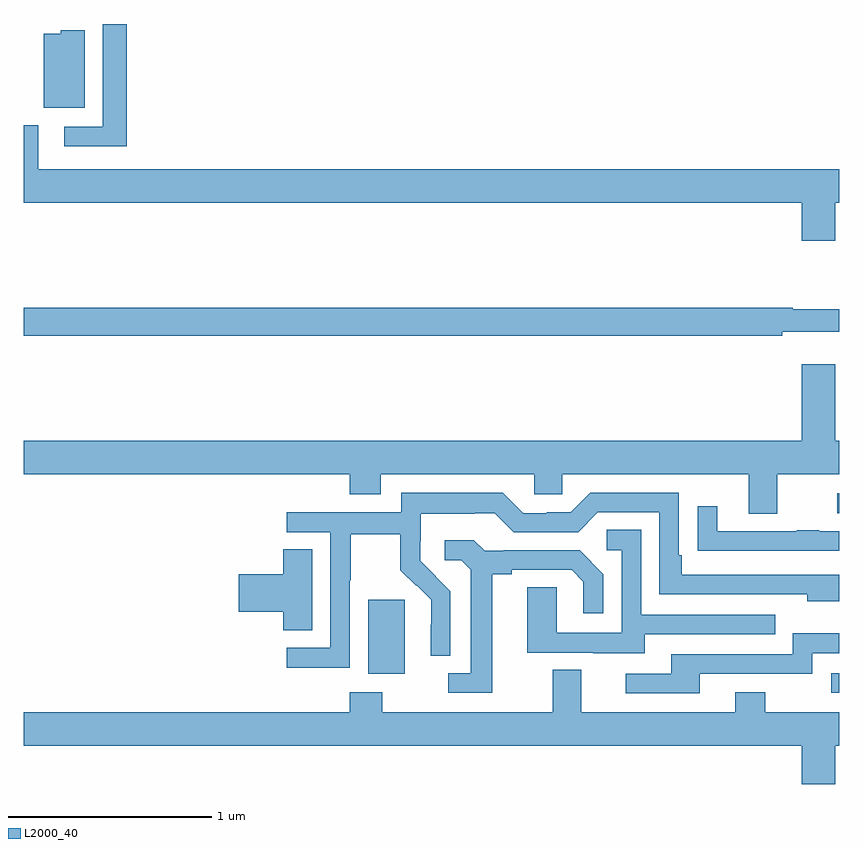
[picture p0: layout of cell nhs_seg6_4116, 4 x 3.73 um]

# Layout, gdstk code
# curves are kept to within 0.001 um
import gdstk
lib = gdstk.Library(unit=1e-6, precision=1e-09)
def R(c, l, rs):  # rectangles x0, y0, x1, y1
    for r in rs: c.add(gdstk.rectangle(r[:2], r[2:], *l))
def P(c, l, *ps):  # polygons
    for p in ps: c.add(gdstk.Polygon(p, *l))
L2000_40 = (2000, 40)

nhs_seg6_4116 = lib.new_cell('nhs_seg6_4116')
R(nhs_seg6_4116, L2000_40, [(356.961,990.219,357,990.315), (354.689,990.314,354.868,990.675), (356.991,991.101,357,991.197)])
P(nhs_seg6_4116, L2000_40, [(353.504,993.5),(353.388,993.5),(353.388,992.997),(353.199,992.997),(353.199,992.901),(353.504,992.901)],
  [(353.299,993.469),(353.181,993.469),(353.181,993.451),(353.099,993.451),(353.099,993.089),(353.299,993.089)],
  [(356.98,992.624),(357,992.624),(357,992.788),(353.071,992.788),(353.071,993.004),(353,993.004),(353,992.624),(356.816,992.624),(356.816,992.436),(356.98,992.436)],
  [(356.72,991.991),(357,991.991),(357,992.101),(356.771,992.101),(356.771,992.108),(353,992.108),(353,991.972),(356.72,991.972)],
  [(356.695,991.292),(357,991.292),(357,991.456),(356.98,991.456),(356.98,991.831),(356.816,991.831),(356.816,991.456),(353,991.456),(353,991.292),(354.599,991.292),(354.599,991.193),(354.751,991.193),(354.751,991.292),(355.503,991.292),(355.503,991.194),(355.641,991.194),(355.641,991.292),(356.555,991.292),(356.555,991.098),(356.695,991.098)],
  [(354.6,990.772),(354.603,990.772),(354.603,990.996),(354.847,990.996),(354.847,990.821),(354.924,990.744),(354.927,990.747),(354.998,990.677),(354.998,990.554),(354.996,990.554),(354.996,990.4),(355.092,990.4),(355.092,990.718),(354.946,990.866),(354.946,990.963),(354.948,990.963),(354.948,991.097),(355.211,991.097),(355.211,991.101),(355.311,991.101),(355.404,991.008),(355.719,991.008),(355.815,991.104),(356.118,991.104),(356.118,990.702),(356.843,990.702),(356.843,990.668),(357,990.668),(357,990.798),(356.227,990.798),(356.227,990.895),(356.214,990.895),(356.214,991.2),(355.779,991.2),(355.683,991.104),(355.565,991.104),(355.565,991.101),(355.449,991.101),(355.349,991.201),(354.852,991.201),(354.852,991.104),(354.291,991.104),(354.291,991.008),(354.504,991.008),(354.504,990.441),(354.291,990.441),(354.291,990.343),(354.6,990.343)],
  [(357,991.011),(356.903,991.011),(356.903,991.016),(356.791,991.016),(356.791,991.011),(356.401,991.011),(356.401,991.135),(356.305,991.135),(356.305,990.916),(356.407,990.916),(356.407,990.915),(357,990.915)],
  [(356.047,990.507),(356.687,990.507),(356.687,990.603),(356.028,990.603),(356.028,991.019),(355.86,991.019),(355.86,990.918),(355.932,990.918),(355.932,990.513),(355.614,990.513),(355.614,990.737),(355.469,990.737),(355.469,990.417),(355.793,990.417),(355.793,990.413),(356.047,990.413)],
  [(355.297,990.8),(355.393,990.8),(355.393,990.822),(355.688,990.822),(355.745,990.765),(355.745,990.609),(355.842,990.609),(355.842,990.802),(355.726,990.918),(355.354,990.918),(355.354,990.915),(355.26,990.915),(355.208,990.967),(355.065,990.967),(355.065,990.87),(355.146,990.87),(355.193,990.823),(355.193,990.315),(355.083,990.315),(355.083,990.219),(355.297,990.219)],
  [(354.415,990.923),(354.272,990.923),(354.272,990.8),(354.054,990.8),(354.054,990.617),(354.272,990.617),(354.272,990.526),(354.415,990.526)],
  [(356.317,990.312),(356.868,990.312),(356.868,990.414),(357,990.414),(357,990.511),(356.772,990.511),(356.772,990.408),(356.177,990.408),(356.177,990.312),(355.953,990.312),(355.953,990.216),(356.317,990.216)],
  [(356.98,989.96),(357,989.96),(357,990.124),(356.637,990.124),(356.637,990.223),(356.489,990.223),(356.489,990.124),(355.735,990.124),(355.735,990.332),(355.595,990.332),(355.595,990.124),(354.759,990.124),(354.759,990.223),(354.599,990.223),(354.599,990.124),(353,990.124),(353,989.96),(356.816,989.96),(356.816,989.772),(356.98,989.772)])

lib.write_gds('nhs_seg6_4116.gds')
